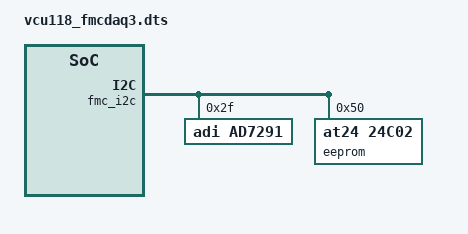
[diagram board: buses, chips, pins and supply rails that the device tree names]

/dts-v1/;
/include/ "vcu118.dtsi"

#define fmc_i2c fmcp_hspc_iic
#define fmc_spi axi_spi

&amba_pl {
	rx_dma: rx-dmac@7c400000 {
		#dma-cells = <1>;
		compatible = "adi,axi-dmac-1.00.a";
		reg = <0x7c400000 0x1000>;
		interrupt-parent = <&axi_intc>;
		interrupts = <12 2>;
		clocks = <&clk_bus_0>;

		adi,channels {
			#size-cells = <0>;
			#address-cells = <1>;

			dma-channel@0 {
				reg = <0>;
				adi,source-bus-width = <64>;
				adi,source-bus-type = <1>;
				adi,destination-bus-width = <64>;
				adi,destination-bus-type = <0>;
			};
		};
	};
	tx_dma: tx-dmac@7c420000 {
		#dma-cells = <1>;
		compatible = "adi,axi-dmac-1.00.a";
		reg = <0x7c420000 0x1000>;
		interrupt-parent = <&axi_intc>;
		interrupts = <13 2>;
		clocks = <&clk_bus_0>;

		adi,channels {
			#size-cells = <0>;
			#address-cells = <1>;

			dma-channel@0 {
				reg = <0>;
				adi,source-bus-width = <128>;
				adi,source-bus-type = <0>;
				adi,destination-bus-width = <128>;
				adi,destination-bus-type = <1>;
			};
		};
	};
	axi_ad9680_core: axi-ad9680-hpc@44a10000 {
		compatible = "adi,axi-ad9680-1.0";
		reg = <0x44a10000 0x10000>;
		dmas = <&rx_dma 0>;
		dma-names = "rx";
		spibus-connected = <&adc0_ad9680>;
	};
	axi_ad9152_core: axi-ad9152-hpc@44a04000 {
		compatible = "adi,axi-ad9144-1.0";
		reg = <0x44a04000 0x10000>;
		dmas = <&tx_dma 0>;
		dma-names = "tx";
		spibus-connected = <&dac0_ad9152>;
		adi,axi-pl-fifo-enable;
	};
	axi_ad9680_jesd: axi-jesd204-rx@44aa0000 {
		compatible = "adi,axi-jesd204-rx-1.0";
		reg = <0x44aa0000 0x4000>;
		interrupt-parent = <&axi_intc>;
		interrupts = <14 2>;

		clocks = <&clk_bus_0>, <&axi_ad9680_adxcvr 1>, <&axi_ad9680_adxcvr 0>;
		clock-names = "s_axi_aclk", "device_clk", "lane_clk";

		adi,octets-per-frame = <1>;
		adi,frames-per-multiframe = <32>;

		#clock-cells = <0>;
		clock-output-names = "jesd_adc_lane_clk";
	};
	axi_ad9680_adxcvr: axi-ad9680-adxcvr@44a50000 {
		compatible = "adi,axi-adxcvr-1.0";
		reg = <0x44a50000 0x10000>;

		clocks = <&clk0_ad9528 9>;
		clock-names = "conv";

		adi,sys-clk-select = <0>;
		adi,out-clk-select = <4>;
		adi,use-lpm-enable;
		adi,use-cpll-enable;

		#clock-cells = <1>;
		clock-output-names = "adc_gt_clk", "rx_out_clk";
	};
	axi_ad9152_jesd: axi-jesd204-tx@44a90000 {
		compatible = "adi,axi-jesd204-tx-1.0";
		reg = <0x44a90000 0x4000>;
		interrupt-parent = <&axi_intc>;
		interrupts = <15 2>;

		clocks = <&clk_bus_0>, <&axi_ad9152_adxcvr 1>, <&axi_ad9152_adxcvr 0>;
		clock-names = "s_axi_aclk", "device_clk", "lane_clk";

		adi,octets-per-frame = <1>;
		adi,frames-per-multiframe = <32>;
		adi,converter-resolution = <16>;
		adi,bits-per-sample = <16>;
		adi,converters-per-device = <2>;

		#clock-cells = <0>;
		clock-output-names = "jesd_dac_lane_clk";
	};
	axi_ad9152_adxcvr: axi-ad9152-adxcvr@44a60000 {
		compatible = "adi,axi-adxcvr-1.0";
		reg = <0x44a60000 0x10000>;

		clocks = <&clk0_ad9528 4>;
		clock-names = "conv";

		adi,sys-clk-select = <3>;
		adi,out-clk-select = <4>;
		adi,use-lpm-enable;

		#clock-cells = <1>;
		clock-output-names = "dac_gt_clk", "tx_out_clk";
	};
};

#include "adi-daq3.dtsi"

&adc0_ad9680 {
	powerdown-gpios = <&axi_gpio 38 0>;
};

&dac0_ad9152 {
	txen-gpios = <&axi_gpio 37 0>;
	irq-gpios = <&axi_gpio 34 0>;
};

&clk0_ad9528 {
	status0-gpios = <&axi_gpio 32 0>;
	status1-gpios = <&axi_gpio 33 0>;
};

&fmc_i2c {
	ad7291@2f {
		compatible = "adi,ad7291";
		reg = <0x2f>;
	};

	eeprom@50 {
		compatible = "at24,24c02";
		reg = <0x50>;
	};
};
